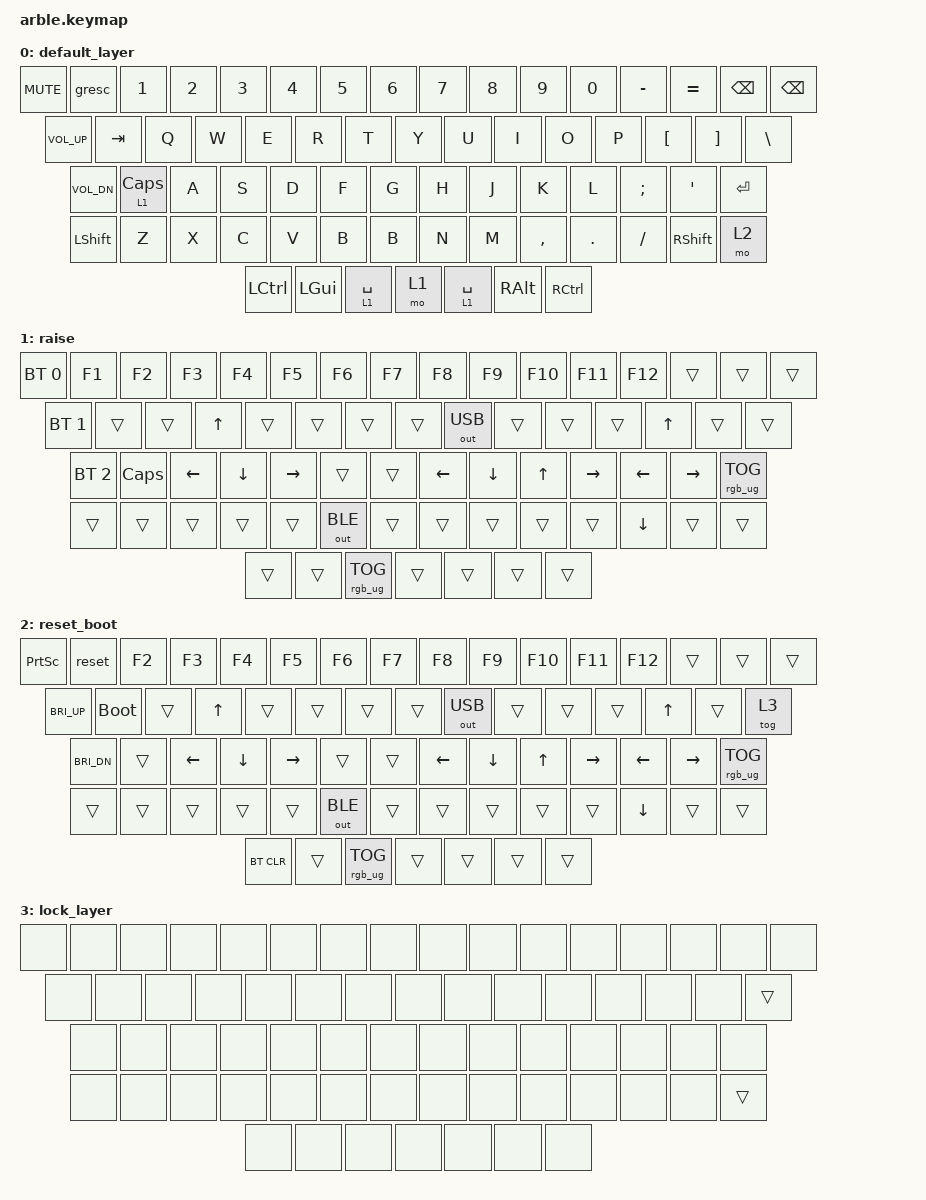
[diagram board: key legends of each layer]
/*
 * Copyright (c) 2021 Nick Winans
 *
 * SPDX-License-Identifier: MIT
 */

#include <behaviors.dtsi>
#include <dt-bindings/zmk/keys.h>
#include <dt-bindings/zmk/rgb.h>
#include <dt-bindings/zmk/bt.h>
#include <dt-bindings/zmk/outputs.h>
#include <dt-bindings/zmk/ext_power.h>


/ {
  keymap {
    compatible = "zmk,keymap";
    
    default_layer {
        // ----------------------------------------------------------------------------------------------------------
        // | K_MUTE  | ESC |  1  |  2  |  3  |  4  |  5  |  6  |  7  |  8  |  9  |  0  |  -  |  =  |  BSPC  | BSPC  | 
        // | K_VOL_UP  | TAB  |  Q  |  W  |  E  |  R  |  T  |  Y  |  U  |  I  |  O  |  P  |  [  |  ]  |   "  |    \     | 
        // | K_VOL_DN  | CAPS   |  A  |  S  |  D  |  F  |  G  |  H  |  J  |  K  |  L  |  ;  |  '  |        ENTER        |
        // |     |  SHIFT  |  Z  |  X  |  C  |  V  |  B  |  B  |  N  |  M  |  ,  |  .  |  /  |   SHIFT   |  MO(2) |
        // |     |  CTL  |       |  WIN  |  SPACE  |  MO(1)  |        |  SPACE  |  ALT  |               |   CTL   |
        // ----------------------------------------------------------------------------------------------------------
      bindings = <
        &kp K_MUTE  &gresc  &kp N1  &kp N2  &kp N3  &kp N4  &kp N5  &kp N6  &kp N7  &kp N8  &kp N9  &kp N0  &kp MINUS  &kp EQUAL  &kp BSPC &kp BSPC 
        &kp C_VOL_UP  &kp TAB  &kp Q  &kp W  &kp E  &kp R  &kp T  &kp Y  &kp U  &kp I  &kp O  &kp P  &kp LBKT  &kp RBKT  &kp BSLH
        &kp C_VOL_DN  &lt 1 CLCK  &kp A  &kp S  &kp D  &kp F  &kp G  &kp H  &kp J  &kp K  &kp L  &kp SEMI  &kp SQT  &kp RET
                &kp LSHFT  &kp Z  &kp X  &kp C  &kp V  &kp B  &kp B  &kp N  &kp M  &kp COMMA  &kp DOT  &kp FSLH  &kp RSHFT  &mo 2
                &kp LCTRL  &kp LGUI  &lt 1 SPACE  &mo 1  &lt 1 SPACE  &kp RALT  &kp RCTRL
      >;
    };

    raise {
        // --------------------------------------------------------------------------------------------------------------
        // | BT 0  |     |     |     |     |     |     |     |     |     |     |     |     |     |     |
        // | BT 1  |     |     |     |     |     |     |     |     |     |     |     |     |     |     |
        // | BT 2  |CAPS |     |     |     |     |     |     |     |     |     |     |     |     |
        // |       |     |     |     |     |     |     |     |     |     |     |     |     |     |
        // |       |     |     |                            RGB TOG                        |     |     | DEL |     |
        // ---------------------------------------------------------------------------------------------------------------
      bindings = <
        &bt BT_SEL 0   &kp F1   &kp F2   &kp F3   &kp F4    &kp F5   &kp F6    &kp F7   &kp F8    &kp F9   &kp F10   &kp F11  &kp F12   &trans   &trans  &trans
        &bt BT_SEL 1  &trans   &trans    &kp UP   &trans    &trans   &trans    &trans   &out OUT_USB      &trans   &trans    &trans   &kp UP   &trans   &trans
        &bt BT_SEL 2  &kp CLCK   &kp LEFT  &kp DOWN &kp RIGHT &trans    &trans   &kp LEFT  &kp DOWN &kp UP   &kp RIGHT   &kp LEFT   &kp RIGHT    &rgb_ug RGB_TOG 
                      &trans   &trans    &trans   &trans    &trans   &out OUT_BLE    &trans   &trans    &trans   &trans    &trans    &kp DOWN  &trans   &trans
                      &trans   &trans    &rgb_ug RGB_TOG    &trans   &trans    &trans   &trans
      >;
    };
    
    reset_boot {
        // --------------------------------------------------------------------------------------------------------------
        // | PSCRN | RST |     |     |     |     |     |     |     |     |     |     |     |     |     |
        // |C_BRI_UP| BOOT|     |     |     |     |     |     |     |     |     |     |     |     |     |
        // |C_BRI_DN|     |     |     |     |     |     |     |     |     |     |     |     |     |
        // |       |     |     |     |     |     |     |     |     |     |     |     |     |     |
        // |       |BT_CLR|     |                                               |     |     |     |     |
        // ---------------------------------------------------------------------------------------------------------------
      bindings = <
        &kp PSCRN    &reset   &kp F2   &kp F3   &kp F4    &kp F5   &kp F6    &kp F7   &kp F8    &kp F9   &kp F10   &kp F11  &kp F12   &trans   &trans  &trans
        &kp C_BRI_UP  &bootloader   &trans    &kp UP   &trans    &trans   &trans    &trans   &out OUT_USB      &trans   &trans    &trans   &kp UP   &trans   &tog 3
        &kp C_BRI_DN  &trans   &kp LEFT  &kp DOWN &kp RIGHT &trans    &trans   &kp LEFT  &kp DOWN &kp UP   &kp RIGHT   &kp LEFT   &kp RIGHT    &rgb_ug RGB_TOG 
                      &trans   &trans    &trans   &trans    &trans   &out OUT_BLE    &trans   &trans    &trans   &trans    &trans    &kp DOWN  &trans   &trans
                      &bt BT_CLR   &trans    &rgb_ug RGB_TOG    &trans   &trans    &trans   &trans 
      >;
    };
    
    lock_layer {
      bindings = <
        &none    &none   &none   &none   &none    &none   &none    &none   &none    &none   &none   &none  &none   &none   &none  &none
        &none  &none   &none    &none   &none    &none   &none    &none   &none      &none   &none    &none   &none   &none   &trans
        &none  &none   &none  &none  &none  &none    &none   &none  &none  &none   &none   &none   &none    &none
                      &none   &none    &none   &none    &none   &none    &none   &none    &none   &none    &none    &none  &none   &trans
                      &none   &none    &none    &none   &none    &none   &none 
      >;
    };
    
  };
}; 
